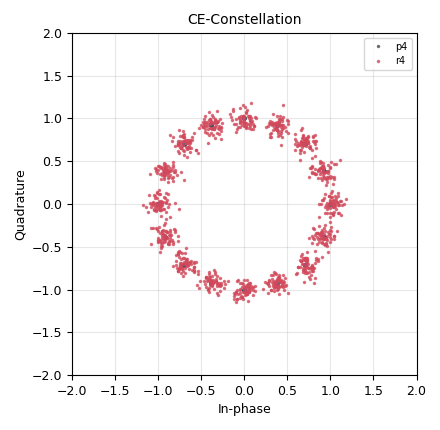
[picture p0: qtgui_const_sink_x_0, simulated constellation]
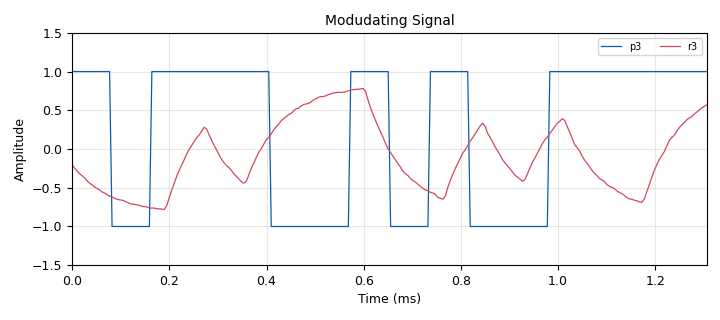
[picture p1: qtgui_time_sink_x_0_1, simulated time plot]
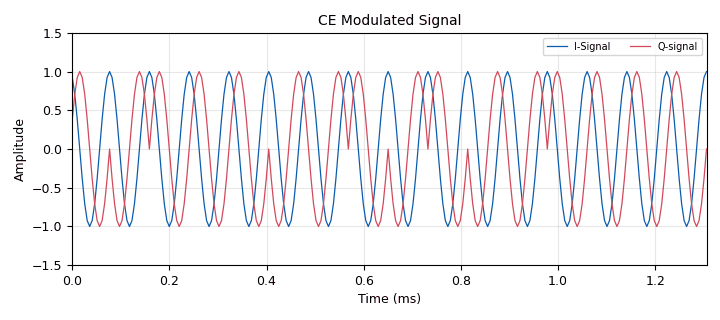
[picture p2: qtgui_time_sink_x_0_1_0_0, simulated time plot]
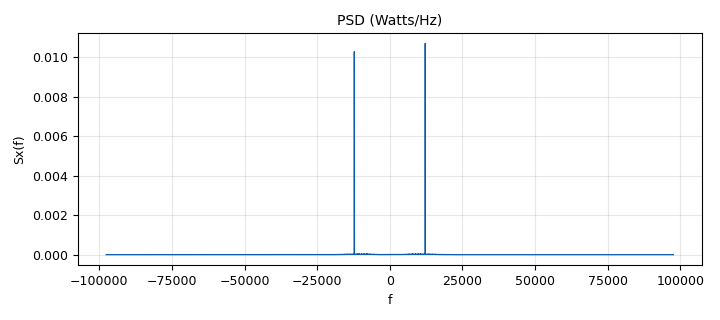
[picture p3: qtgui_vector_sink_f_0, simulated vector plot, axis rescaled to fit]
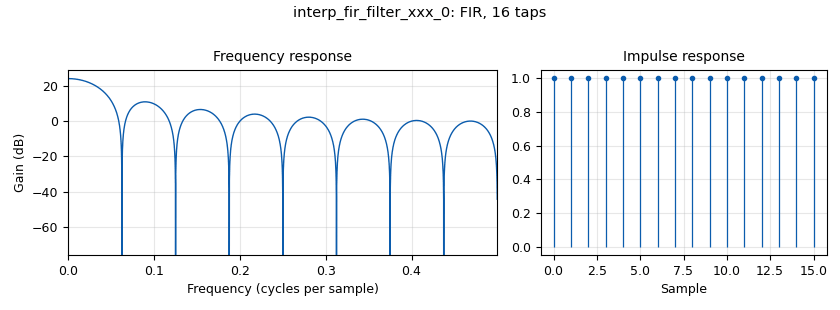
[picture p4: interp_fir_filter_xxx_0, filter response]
options:
  parameters:
    author: radiogis_director
    generate_options: qt_gui
    id: top_block
    output_language: python
    title: top_block
  states: {}

blocks:
- name: BW
  id: variable
  parameters:
    value: samp_rate/2
  states: {}
- name: Cps
  id: variable
  parameters:
    value: '1'
  states: {}
- name: N
  id: variable
  parameters:
    value: 1024*8
  states: {}
- name: Noise_RMS
  id: variable_qtgui_range
  parameters:
    gui_hint: 0,0,1,1
    label: Noise_RMS
    start: '0'
    step: 1/200
    stop: '1'
    value: '0.1'
  states: {}
- name: Rb
  id: variable
  parameters:
    value: samp_rate/Sps
  states: {}
- name: Retardo_Timing
  id: variable_qtgui_range
  parameters:
    gui_hint: 0,1,1,1
    label: Retardo_Timing
    rangeType: int
    start: '0'
    step: '1'
    stop: Sps-1
    value: '4'
  states: {}
- name: Spc
  id: variable
  parameters:
    value: '16'
  states: {}
- name: Sps
  id: variable
  parameters:
    value: int(Cps*Spc)
  states: {}
- name: fd
  id: variable
  parameters:
    value: Rb*Cps
  states: {}
- name: h
  id: variable
  parameters:
    value: '[1]*Sps'
  states: {}
- name: samp_rate
  id: variable
  parameters:
    value: '195312.5'
  states: {}
- name: E3TRadio_bipolar_decisor_ff_0
  id: E3TRadio_bipolar_decisor_ff
  parameters: {}
  states: {}
- name: E3TRadio_diezma_ff_0
  id: E3TRadio_diezma_ff
  parameters:
    M: Retardo_Timing
    N: Sps
  states: {}
- name: Menu
  id: qtgui_tab_widget
  parameters:
    gui_hint: 4,0,1,2
    label0: Message
    label1: Modulated-Time
    label2: Modulated-Freq
    label3: Constellatin
    label4: Eye Diagram
    num_tabs: '5'
  states: {}
- name: analog_const_source_x_0
  id: analog_const_source_x
  parameters:
    const: '1'
    type: float
  states: {}
- name: analog_noise_source_x_0
  id: analog_noise_source_x
  parameters:
    amp: Noise_RMS
    noise_type: analog.GR_GAUSSIAN
    seed: '0'
    type: complex
  states: {}
- name: analog_random_source_x_0
  id: analog_random_source_x
  parameters:
    max: '2'
    min: '0'
    num_samps: '1000000'
    repeat: 'True'
    type: byte
  states: {}
- name: analog_wfm_rcv_0
  id: analog_wfm_rcv
  parameters:
    audio_decimation: '1'
    quad_rate: samp_rate
  states: {}
- name: b_EYE_Timing_f_0
  id: b_EYE_Timing_f
  parameters:
    AlphaLineas: '0.5'
    Delay: '0'
    GrosorLineas: '20'
    N_eyes: '2'
    Retardo_Timing: Retardo_Timing
    Samprate: samp_rate
    Sps: Sps
    Title: '"Eye Diagram and Timing"'
    Ymax: '2'
    Ymin: '-2'
    gui_hint: Menu@4:2,1,1,1
  states: {}
- name: blocks_add_const_vxx_0
  id: blocks_add_const_vxx
  parameters:
    const: '-0.5'
    type: float
  states: {}
- name: blocks_add_xx_0
  id: blocks_add_xx
  parameters:
    type: complex
  states: {}
- name: blocks_char_to_float_0
  id: blocks_char_to_float
  parameters:
    scale: '1'
  states: {}
- name: blocks_complex_to_mag_squared_0
  id: blocks_complex_to_mag_squared
  parameters:
    vlen: N
  states: {}
- name: blocks_delay_0
  id: blocks_delay
  parameters:
    delay: '3'
    type: float
  states: {}
- name: blocks_multiply_const_vxx_0
  id: blocks_multiply_const_vxx
  parameters:
    const: 2*math.pi*fd/(Rb*Sps)
    type: float
  states: {}
- name: blocks_multiply_const_vxx_0_0
  id: blocks_multiply_const_vxx
  parameters:
    const: '2'
    type: float
  states: {}
- name: blocks_multiply_const_vxx_0_1
  id: blocks_multiply_const_vxx
  parameters:
    const: Rb*Sps/(math.pi*fd)
    type: float
  states: {}
- name: blocks_multiply_const_vxx_1
  id: blocks_multiply_const_vxx
  parameters:
    const: '[1/(N*samp_rate)]*N'
    type: float
    vlen: N
  states: {}
- name: blocks_stream_to_vector_0
  id: blocks_stream_to_vector
  parameters:
    num_items: N
    type: complex
  states: {}
- name: epy_block_0
  id: epy_block
  parameters:
    N: N
    _source_code: |
      import numpy as np
      from gnuradio import gr


      class blk(gr.sync_block):  
          """vector averager. N is the lengh of the vector"""

          def __init__(self, N=8192):
              gr.sync_block.__init__(
                  self,
                  name='e_vec_averager_ff',   
                  in_sig=[(np.float32,N)],
                  out_sig=[(np.float32,N)]
              )
              self.N = N
              self.rows_counter=0
              self.sum=0

          def work(self, input_items, output_items):
              x=input_items[0]
              y=output_items[0]
              self.sum += np.sum(x, axis=0)
              self.rows_counter += len(x)
              y[:]=self.sum/self.rows_counter
              return len(output_items[0])
  states: {}
- name: epy_block_0_0
  id: epy_block
  parameters:
    _source_code: |
      import numpy as np
      from gnuradio import gr
      import math

      class blk(gr.sync_block):  
          """This block is a CE VCO or baseband VCO and works as following: ….."""

          def __init__(self,):  
              gr.sync_block.__init__(
                  self,
                  name='e_CE_VCO_fc',   
                  in_sig=[np.float32, np.float32],
                  out_sig=[np.complex64]
              )
              
          def work(self, input_items, output_items):
              A=input_items[0]
              Q=input_items[1]
              y=output_items[0]
              N=len(A)
              y[:]=A*np.exp(1j*Q)
              return len(output_items[0])
  states: {}
- name: epy_block_0_1
  id: epy_block
  parameters:
    _source_code: |
      """
      Embedded Python Blocks:

      Each time this file is saved, GRC will instantiate the first class it finds
      to get ports and parameters of your block. The arguments to __init__  will
      be the parameters. All of them are required to have default values!
      """

      import numpy as np
      from gnuradio import gr


      class blk(gr.sync_block):  # other base classes are basic_block, decim_block, interp_block
          """Embedded Python Block example - a simple multiply const"""

          def __init__(self,):  # only default arguments here
              """arguments to this function show up as parameters in GRC"""
              gr.sync_block.__init__(
                  self,
                  name='e_Acum',   # will show up in GRC
                  in_sig=[np.float32],
                  out_sig=[np.float32]
              )
              self.acum=0
              
          def work(self, input_items, output_items):
              x=input_items[0]
              y= output_items[0]


              y[:]=self.acum+np.cumsum(x)
              self.acum=y[-1]
              return len(y)
  states: {}
- name: fft_vxx_0
  id: fft_vxx
  parameters:
    fft_size: N
    forward: 'True'
    shift: 'True'
    type: complex
    window: '[1]*N'
  states: {}
- name: import_0
  id: import
  parameters:
    imports: import math
  states: {}
- name: import_0_0
  id: import
  parameters:
    imports: import numpy as np
  states: {}
- name: interp_fir_filter_xxx_0
  id: interp_fir_filter_xxx
  parameters:
    interp: Sps
    taps: h
    type: fff
  states: {}
- name: qtgui_const_sink_x_0
  id: qtgui_const_sink_x
  parameters:
    gui_hint: Menu@3:3,1,1,1
    label1: p4
    label2: r4
    name: '"CE-Constellation"'
    nconnections: '2'
    size: '1024'
    type: complex
    width1: '8'
  states: {}
- name: qtgui_eye_sink_x_0
  id: qtgui_eye_sink_x
  parameters:
    gui_hint: Menu@4:2,1,1,1
    samp_per_symbol: Sps
    size: '1024'
    srate: samp_rate
    type: float
  states: {state: disabled}
- name: qtgui_freq_sink_x_0_0
  id: qtgui_freq_sink_x
  parameters:
    average: '0.05'
    bw: samp_rate
    fc: '0'
    fftsize: 1024*8
    gui_hint: Menu@2:3,1,1,1
    label1: CE-Modulated Signal
    type: complex
    width1: '2'
    ymax: '-35'
    ymin: '-56'
  states: {state: disabled}
- name: qtgui_time_sink_x_0_0
  id: qtgui_time_sink_x
  parameters:
    gui_hint: Menu@0:3,1,1,1
    label1: p2
    label2: r2
    marker1: '0'
    marker2: '0'
    name: '"Message bipolar"'
    nconnections: '2'
    size: '16'
    srate: Rb
    stemplot: 'True'
    type: float
    width1: '3'
    width2: '3'
    ymax: '1.5'
    ymin: '-1.5'
  states: {}
- name: qtgui_time_sink_x_0_1
  id: qtgui_time_sink_x
  parameters:
    gui_hint: Menu@0:4,1,1,1
    label1: p3
    label2: r3
    name: Modudating Signal
    nconnections: '2'
    size: 16*Sps
    srate: samp_rate
    type: float
    width1: '3'
    ymax: '1.5'
    ymin: '-1.5'
  states: {}
- name: qtgui_time_sink_x_0_1_0_0
  id: qtgui_time_sink_x
  parameters:
    gui_hint: Menu@1:3,1,1,1
    label1: I-Signal
    label2: Q-signal
    name: CE Modulated Signal
    size: 16*Sps
    srate: samp_rate
    type: complex
    width1: '2'
    width2: '2'
    ymax: '1.5'
    ymin: '-1.5'
  states: {}
- name: qtgui_vector_sink_f_0
  id: qtgui_vector_sink_f
  parameters:
    gui_hint: Menu@2:3,1,1,1
    label1: p4
    name: '"PSD (Watts/Hz)"'
    vlen: N
    x_axis_label: '"f"'
    x_start: '-samp_rate/2'
    x_step: samp_rate/N
    x_units: '"Hz"'
    y_axis_label: '"Sx(f)"'
    y_units: '"Watss/Hz"'
    ymax: 1/Rb
    ymin: '0'
  states: {}
- name: virtual_sink_0_0
  id: virtual_sink
  parameters:
    stream_id: p2
  states: {}
- name: virtual_sink_0_0_0
  id: virtual_sink
  parameters:
    stream_id: p3
  states: {}
- name: virtual_sink_0_0_0_0
  id: virtual_sink
  parameters:
    stream_id: r3
  states: {}
- name: virtual_sink_0_0_0_0_0
  id: virtual_sink
  parameters:
    stream_id: p4
  states: {}
- name: virtual_sink_0_0_0_0_0_0
  id: virtual_sink
  parameters:
    stream_id: r4
  states: {}
- name: virtual_sink_0_0_0_1
  id: virtual_sink
  parameters:
    stream_id: p3b
  states: {}
- name: virtual_sink_0_0_0_1_0
  id: virtual_sink
  parameters:
    stream_id: r3b
  states: {state: disabled}
- name: virtual_sink_0_0_1
  id: virtual_sink
  parameters:
    stream_id: r2
  states: {}
- name: virtual_source_0_0
  id: virtual_source
  parameters:
    stream_id: p2
  states: {}
- name: virtual_source_0_0_0
  id: virtual_source
  parameters:
    stream_id: r2
  states: {}
- name: virtual_source_0_1
  id: virtual_source
  parameters:
    stream_id: p3
  states: {}
- name: virtual_source_0_1_0
  id: virtual_source
  parameters:
    stream_id: r3
  states: {}
- name: virtual_source_0_1_0_0
  id: virtual_source
  parameters:
    stream_id: p4
  states: {}
- name: virtual_source_0_1_0_0_0
  id: virtual_source
  parameters:
    stream_id: r4
  states: {}

connections:
- [E3TRadio_bipolar_decisor_ff_0, '0', virtual_sink_0_0_1, '0']
- [E3TRadio_diezma_ff_0, '0', E3TRadio_bipolar_decisor_ff_0, '0']
- [analog_const_source_x_0, '0', epy_block_0_0, '0']
- [analog_noise_source_x_0, '0', blocks_add_xx_0, '0']
- [analog_random_source_x_0, '0', blocks_char_to_float_0, '0']
- [analog_wfm_rcv_0, '0', blocks_multiply_const_vxx_0_1, '0']
- [blocks_add_const_vxx_0, '0', blocks_multiply_const_vxx_0_0, '0']
- [blocks_add_xx_0, '0', analog_wfm_rcv_0, '0']
- [blocks_add_xx_0, '0', virtual_sink_0_0_0_0_0_0, '0']
- [blocks_char_to_float_0, '0', blocks_add_const_vxx_0, '0']
- [blocks_complex_to_mag_squared_0, '0', epy_block_0, '0']
- [blocks_delay_0, '0', qtgui_time_sink_x_0_0, '0']
- [blocks_multiply_const_vxx_0, '0', epy_block_0_0, '1']
- [blocks_multiply_const_vxx_0, '0', virtual_sink_0_0_0_1, '0']
- [blocks_multiply_const_vxx_0_0, '0', interp_fir_filter_xxx_0, '0']
- [blocks_multiply_const_vxx_0_0, '0', virtual_sink_0_0, '0']
- [blocks_multiply_const_vxx_0_1, '0', E3TRadio_diezma_ff_0, '0']
- [blocks_multiply_const_vxx_0_1, '0', virtual_sink_0_0_0_0, '0']
- [blocks_multiply_const_vxx_1, '0', qtgui_vector_sink_f_0, '0']
- [blocks_stream_to_vector_0, '0', fft_vxx_0, '0']
- [epy_block_0, '0', blocks_multiply_const_vxx_1, '0']
- [epy_block_0_0, '0', blocks_add_xx_0, '1']
- [epy_block_0_0, '0', virtual_sink_0_0_0_0_0, '0']
- [epy_block_0_1, '0', blocks_multiply_const_vxx_0, '0']
- [fft_vxx_0, '0', blocks_complex_to_mag_squared_0, '0']
- [interp_fir_filter_xxx_0, '0', epy_block_0_1, '0']
- [interp_fir_filter_xxx_0, '0', virtual_sink_0_0_0, '0']
- [virtual_source_0_0, '0', blocks_delay_0, '0']
- [virtual_source_0_0_0, '0', qtgui_time_sink_x_0_0, '1']
- [virtual_source_0_1, '0', qtgui_time_sink_x_0_1, '0']
- [virtual_source_0_1_0, '0', b_EYE_Timing_f_0, '0']
- [virtual_source_0_1_0, '0', qtgui_eye_sink_x_0, '0']
- [virtual_source_0_1_0, '0', qtgui_time_sink_x_0_1, '1']
- [virtual_source_0_1_0_0, '0', blocks_stream_to_vector_0, '0']
- [virtual_source_0_1_0_0, '0', qtgui_const_sink_x_0, '0']
- [virtual_source_0_1_0_0, '0', qtgui_freq_sink_x_0_0, '0']
- [virtual_source_0_1_0_0, '0', qtgui_time_sink_x_0_1_0_0, '0']
- [virtual_source_0_1_0_0_0, '0', qtgui_const_sink_x_0, '1']

metadata:
  file_format: 1
